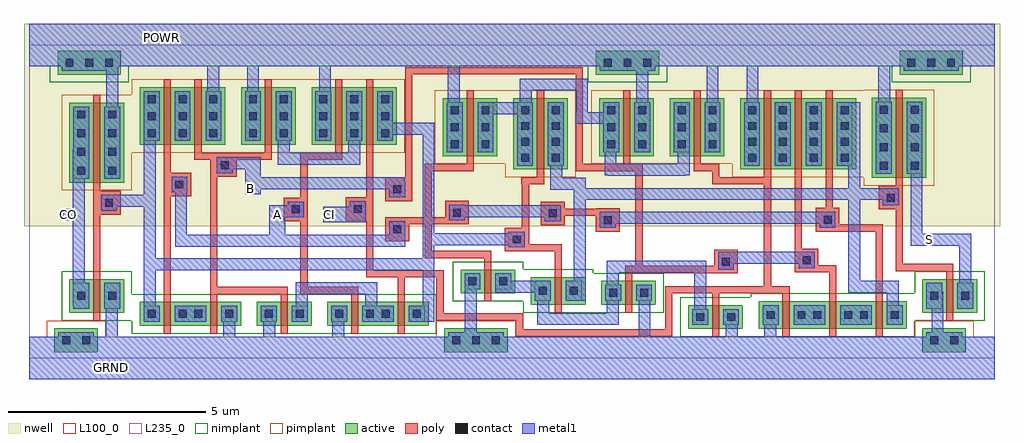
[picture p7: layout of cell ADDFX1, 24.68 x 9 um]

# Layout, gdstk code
import gdstk
lib = gdstk.Library(unit=1e-6, precision=1e-09)
def R(c, l, rs):  # rectangles x0, y0, x1, y1
    for r in rs: c.add(gdstk.rectangle(r[:2], r[2:], *l))
def A(c, l, x, y, w, h, nx, ny, dx, dy):  # array of equal rectangles
    R(c, l, [(x+i*dx, y+j*dy, x+i*dx+w, y+j*dy+h) for i in range(nx) for j in range(ny)])
active = (1, 0)
nwell = (2, 0)
poly = (3, 0)
nimplant = (4, 0)
pimplant = (5, 0)
contact = (6, 0)
metal1 = (7, 0)
L100_0 = (100, 0)
L235_0 = (235, 0)

addfx1 = lib.new_cell('ADDFX1')
A(addfx1, active, 19.05, 0.74, 0.18, 0.7, 3, 1, 1.18, 0)
A(addfx1, active, 4.58, 0.82, 0.18, 0.6, 3, 1, 1.78, 0)
A(addfx1, active, 18.58, 4.77, 0.18, 1.8, 3, 1, 0.78, 0)
A(addfx1, active, 4.18, 5.39, 0.18, 1.46, 3, 1, 1.78, 0)
R(addfx1, active, [(0.64,0.15,1.74,0.75), (10.5,0.15,12.1,0.75), (22.59,0.15,23.69,0.75), (16.67,0.74,17.27,1.34), (17.27,0.74,17.45,1.34), (17.45,0.74,18.05,1.34), (18.45,0.74,19.05,1.44), (19.23,0.74,19.83,1.44), (19.63,0.74,20.23,1.44), (20.41,0.74,21.01,1.44), (20.81,0.74,21.41,1.44), (21.59,0.74,22.19,1.44), (2.8,0.82,3.4,1.42), (3.4,0.82,3.58,1.42), (3.58,0.82,4.18,1.42), (3.98,0.82,4.58,1.42), (4.76,0.82,5.36,1.42), (5.76,0.82,6.36,1.42), (6.54,0.82,7.14,1.42), (7.54,0.82,8.14,1.42), (8.32,0.82,8.92,1.42), (8.72,0.82,9.32,1.42), (9.32,0.82,9.5,1.42), (9.5,0.82,10.1,1.42), (1.02,1.15,1.62,2), (1.62,1.15,1.8,2), (1.8,1.15,2.4,2), (22.59,1.15,23.19,2), (23.19,1.15,23.37,2), (23.37,1.15,23.97,2), (12.69,1.35,13.29,2.05), (13.29,1.35,13.47,2.05), (13.47,1.35,14.07,2.05), (14.47,1.35,15.07,1.95), (15.07,1.35,15.25,1.95), (15.25,1.35,15.85,1.95), (10.91,1.64,11.51,2.24), (11.51,1.64,11.69,2.24), (11.69,1.64,12.29,2.24), (1.02,4.44,1.62,6.46), (1.62,4.44,1.8,6.46), (1.8,4.44,2.4,6.46), (21.31,4.56,21.91,6.58), (21.91,4.56,22.09,6.58), (22.09,4.56,22.69,6.58), (12.24,4.77,12.84,6.57), (12.84,4.77,13.02,6.57), (13.02,4.77,13.62,6.57), (17.98,4.77,18.58,6.57), (18.76,4.77,19.36,6.57), (18.76,4.77,19.36,6.57), (19.54,4.77,20.14,6.57), (19.54,4.77,20.14,6.57), (20.32,4.77,20.92,6.57), (10.46,5.11,11.06,6.57), (11.06,5.11,11.24,6.57), (11.24,5.11,11.84,6.57), (14.42,5.11,15.02,6.57), (15.02,5.11,15.2,6.57), (15.2,5.11,15.8,6.57), (16.2,5.11,16.8,6.57), (16.8,5.11,16.98,6.57), (16.98,5.11,17.58,6.57), (2.8,5.39,3.4,6.85), (3.4,5.39,3.58,6.85), (3.58,5.39,4.18,6.85), (3.58,5.39,4.18,6.85), (4.36,5.39,4.96,6.85), (5.36,5.39,5.96,6.85), (6.14,5.39,6.74,6.85), (7.14,5.39,7.74,6.85), (7.92,5.39,8.52,6.85), (7.92,5.39,8.52,6.85), (8.52,5.39,8.7,6.85), (8.7,5.39,9.3,6.85), (0.72,7.17,2.32,7.77), (14.33,7.17,15.93,7.77), (22.01,7.17,23.61,7.77)])
A(addfx1, nwell, 17.48, 4.27, 2.38, 2.8, 3, 1, 0.78, 0)
A(addfx1, nwell, 3.08, 4.89, 2.38, 2.46, 3, 1, 1.78, 0)
R(addfx1, nwell, [(-0.13,3.33,24.55,8.46), (0.52,3.94,2.9,6.96), (20.81,4.06,23.19,7.08), (11.74,4.27,14.12,7.07), (9.96,4.61,12.34,7.07), (13.92,4.61,16.3,7.07), (15.7,4.61,18.08,7.07), (2.3,4.89,4.68,7.35), (7.42,4.89,9.8,7.35)])
A(addfx1, poly, 19.05, 0.54, 0.18, 0.2, 3, 2, 1.18, 0.9)
A(addfx1, poly, 19.05, 0.54, 0.18, 1.1, 3, 1, 1.18, 0)
A(addfx1, poly, 4.58, 0.62, 0.18, 0.2, 3, 2, 1.78, 0.8)
A(addfx1, poly, 4.58, 0.62, 0.18, 1, 3, 1, 1.78, 0)
A(addfx1, poly, 18.58, 4.57, 0.18, 0.2, 3, 1, 0.78, 0)
A(addfx1, poly, 18.58, 4.57, 0.18, 2.2, 3, 1, 0.78, 0)
A(addfx1, poly, 4.18, 5.19, 0.18, 0.2, 3, 2, 1.78, 1.66)
A(addfx1, poly, 4.18, 5.19, 0.18, 1.86, 3, 1, 1.78, 0)
A(addfx1, poly, 15.02, 6.57, 0.18, 0.2, 3, 1, 1.78, 0)
R(addfx1, poly, [(17.27,0.54,17.45,0.74), (17.27,0.54,17.45,1.54), (3.4,0.62,3.58,0.82), (3.4,0.62,3.58,1.62), (9.32,0.62,9.5,0.82), (9.32,0.62,9.5,1.62), (1.62,0.95,1.8,1.15), (1.62,0.95,1.8,2.2), (23.19,0.95,23.37,1.15), (23.19,0.95,23.37,2.2), (13.29,1.15,13.47,1.35), (13.29,1.15,13.47,2.25), (15.07,1.15,15.25,1.35), (15.07,1.15,15.25,2.15), (17.27,1.34,17.45,1.54), (3.4,1.42,3.58,1.62), (9.32,1.42,9.5,1.62), (11.51,1.44,11.69,1.64), (11.51,1.44,11.69,2.44), (15.07,1.95,15.25,2.15), (1.62,2,1.8,2.2), (23.19,2,23.37,2.2), (13.29,2.05,13.47,2.25), (17.32,2.14,17.92,2.74), (19.36,2.17,19.96,2.77), (11.51,2.24,11.69,2.44), (12.03,2.7,12.63,3.3), (9.01,2.96,9.61,3.56), (14.33,3.19,14.93,3.79), (19.89,3.2,20.49,3.8), (12.94,3.36,13.54,3.96), (10.52,3.38,11.12,3.98), (6.44,3.46,7.04,4.06), (8.01,3.47,8.61,4.07), (1.72,3.63,2.32,4.23), (21.49,3.76,22.09,4.36), (9.01,3.97,9.61,4.57), (3.5,4.09,4.1,4.69), (1.62,4.24,1.8,6.66), (1.62,4.24,1.8,4.44), (21.91,4.36,22.09,6.78), (21.91,4.36,22.09,4.56), (12.84,4.57,13.02,4.77), (12.84,4.57,13.02,6.77), (4.65,4.58,5.25,5.18), (11.06,4.91,11.24,5.11), (11.06,4.91,11.24,6.77), (15.02,4.91,15.2,5.11), (15.02,4.91,15.2,6.77), (16.8,4.91,16.98,5.11), (16.8,4.91,16.98,6.77), (3.4,5.19,3.58,5.39), (3.4,5.19,3.58,7.05), (8.52,5.19,8.7,5.39), (8.52,5.19,8.7,7.05), (1.62,6.46,1.8,6.66), (11.06,6.57,11.24,6.77), (12.84,6.57,13.02,6.77), (19.36,6.57,19.54,6.77), (20.14,6.57,20.32,6.77), (21.91,6.58,22.09,6.78), (3.4,6.85,3.58,7.05), (8.52,6.85,8.7,7.05)])
A(addfx1, nimplant, 18.25, 0.54, 1.78, 1.1, 3, 1, 1.18, 0)
A(addfx1, nimplant, 3.78, 0.62, 1.78, 1, 3, 1, 1.78, 0)
R(addfx1, nimplant, [(16.47,0.54,18.25,1.54), (2.6,0.62,4.38,1.62), (8.52,0.62,10.3,1.62), (0.82,0.95,2.6,2.2), (22.39,0.95,24.17,2.2), (12.49,1.15,14.27,2.25), (14.27,1.15,16.05,2.15), (10.71,1.44,12.49,2.44), (0.52,6.97,2.52,7.97), (14.13,6.97,16.13,7.97), (21.81,6.97,23.81,7.97), (0,7.38,24.42,8.46)])
A(addfx1, pimplant, 17.78, 4.57, 1.78, 2.2, 3, 1, 0.78, 0)
A(addfx1, pimplant, 3.38, 5.19, 1.78, 1.86, 3, 1, 1.78, 0)
R(addfx1, pimplant, [(0,-0.54,24.42,0.54), (0.44,-0.05,1.94,0.95), (10.3,-0.05,12.3,0.95), (22.39,-0.05,23.89,0.95), (0.82,4.24,2.6,6.66), (21.11,4.36,22.89,6.78), (12.04,4.57,13.82,6.77), (10.26,4.91,12.04,6.77), (14.22,4.91,16,6.77), (16,4.91,17.78,6.77), (2.6,5.19,4.38,7.05), (7.72,5.19,9.5,7.05)])
A(addfx1, contact, 10.7, 0.35, 0.2, 0.2, 3, 1, 0.5, 0)
A(addfx1, contact, 1.22, 4.64, 0.2, 0.2, 1, 3, 0, 0.475)
A(addfx1, contact, 2, 4.64, 0.2, 0.2, 1, 3, 0, 0.475)
A(addfx1, contact, 21.51, 4.76, 0.2, 0.2, 1, 3, 0, 0.475)
A(addfx1, contact, 22.29, 4.76, 0.2, 0.2, 1, 3, 0, 0.475)
A(addfx1, contact, 12.44, 4.97, 0.2, 0.2, 1, 4, 0, 0.4)
A(addfx1, contact, 13.22, 4.97, 0.2, 0.2, 1, 4, 0, 0.4)
A(addfx1, contact, 18.18, 4.97, 0.2, 0.2, 1, 4, 0, 0.4)
A(addfx1, contact, 20.52, 4.97, 0.2, 0.2, 1, 4, 0, 0.4)
A(addfx1, contact, 10.66, 5.31, 0.2, 0.2, 1, 3, 0, 0.43)
A(addfx1, contact, 11.44, 5.31, 0.2, 0.2, 1, 3, 0, 0.43)
A(addfx1, contact, 14.62, 5.31, 0.2, 0.2, 1, 3, 0, 0.43)
A(addfx1, contact, 15.4, 5.31, 0.2, 0.2, 1, 3, 0, 0.43)
A(addfx1, contact, 16.4, 5.31, 0.2, 0.2, 1, 3, 0, 0.43)
A(addfx1, contact, 17.18, 5.31, 0.2, 0.2, 1, 3, 0, 0.43)
A(addfx1, contact, 3, 5.59, 0.2, 0.2, 1, 3, 0, 0.43)
A(addfx1, contact, 4.56, 5.59, 0.2, 0.2, 1, 3, 0, 0.43)
A(addfx1, contact, 5.56, 5.59, 0.2, 0.2, 1, 3, 0, 0.43)
A(addfx1, contact, 6.34, 5.59, 0.2, 0.2, 1, 3, 0, 0.43)
A(addfx1, contact, 7.34, 5.59, 0.2, 0.2, 1, 3, 0, 0.43)
A(addfx1, contact, 8.9, 5.59, 0.2, 0.2, 1, 3, 0, 0.43)
A(addfx1, contact, 0.92, 7.37, 0.2, 0.2, 3, 1, 0.5, 0)
A(addfx1, contact, 14.53, 7.37, 0.2, 0.2, 3, 1, 0.5, 0)
A(addfx1, contact, 22.21, 7.37, 0.2, 0.2, 3, 1, 0.5, 0)
R(addfx1, contact, [(0.84,0.35,1.04,0.55), (1.34,0.35,1.54,0.55), (22.79,0.35,22.99,0.55), (23.29,0.35,23.49,0.55), (16.87,0.94,17.07,1.14), (17.65,0.94,17.85,1.14), (18.65,0.99,18.85,1.19), (19.43,0.99,19.63,1.19), (19.83,0.99,20.03,1.19), (20.61,0.99,20.81,1.19), (21.01,0.99,21.21,1.19), (21.79,0.99,21.99,1.19), (3,1.02,3.2,1.22), (3.78,1.02,3.98,1.22), (4.18,1.02,4.38,1.22), (4.96,1.02,5.16,1.22), (5.96,1.02,6.16,1.22), (6.74,1.02,6.94,1.22), (7.74,1.02,7.94,1.22), (8.52,1.02,8.72,1.22), (8.92,1.02,9.12,1.22), (9.7,1.02,9.9,1.22), (1.22,1.475,1.42,1.675), (2,1.475,2.2,1.675), (22.79,1.475,22.99,1.675), (23.57,1.475,23.77,1.675), (14.67,1.55,14.87,1.75), (15.45,1.55,15.65,1.75), (12.89,1.6,13.09,1.8), (13.67,1.6,13.87,1.8), (11.11,1.84,11.31,2.04), (11.89,1.84,12.09,2.04), (17.52,2.34,17.72,2.54), (19.56,2.37,19.76,2.57), (12.23,2.9,12.43,3.1), (9.21,3.16,9.41,3.36), (14.53,3.39,14.73,3.59), (20.09,3.4,20.29,3.6), (13.14,3.56,13.34,3.76), (10.72,3.58,10.92,3.78), (6.64,3.66,6.84,3.86), (8.21,3.67,8.41,3.87), (1.92,3.83,2.12,4.03), (21.69,3.96,21.89,4.16), (9.21,4.17,9.41,4.37), (3.7,4.29,3.9,4.49), (4.85,4.78,5.05,4.98), (18.96,4.97,19.16,5.17), (18.96,4.97,19.16,5.17), (19.74,4.97,19.94,5.17), (19.74,4.97,19.94,5.17), (18.96,5.37,19.16,5.57), (18.96,5.37,19.16,5.57), (19.74,5.37,19.94,5.57), (19.74,5.37,19.94,5.57), (3.78,5.59,3.98,5.79), (3.78,5.59,3.98,5.79), (8.12,5.59,8.32,5.79), (8.12,5.59,8.32,5.79), (18.96,5.77,19.16,5.97), (18.96,5.77,19.16,5.97), (19.74,5.77,19.94,5.97), (19.74,5.77,19.94,5.97), (3.78,6.02,3.98,6.22), (3.78,6.02,3.98,6.22), (8.12,6.02,8.32,6.22), (8.12,6.02,8.32,6.22), (1.22,6.06,1.42,6.26), (2,6.06,2.2,6.26), (18.96,6.17,19.16,6.37), (18.96,6.17,19.16,6.37), (19.74,6.17,19.94,6.37), (19.74,6.17,19.94,6.37), (21.51,6.18,21.71,6.38), (22.29,6.18,22.49,6.38), (3.78,6.45,3.98,6.65), (3.78,6.45,3.98,6.65), (8.12,6.45,8.32,6.65), (8.12,6.45,8.32,6.65)])
R(addfx1, metal1, [(0,-0.54,24.42,0.54), (0.74,0.25,1.64,0.65), (10.6,0.25,12,0.65), (22.69,0.25,23.59,0.65), (3.68,0.92,4.28,1.32), (3.68,0.92,4.48,1.32), (17.42,2.24,17.82,2.64), (19.46,2.27,19.86,2.67), (12.13,2.8,12.53,3.2), (22.62,2.84,22.92,3.14), (9.11,3.06,9.51,3.46), (14.43,3.29,14.83,3.69), (19.99,3.3,20.39,3.7), (13.04,3.46,13.44,3.86), (0.85,3.48,1.15,3.78), (6.12,3.48,6.42,3.78), (7.44,3.48,7.74,3.78), (10.62,3.48,11.02,3.88), (6.54,3.56,6.94,3.96), (8.11,3.57,8.51,3.97), (1.82,3.73,2.22,4.13), (21.59,3.86,21.99,4.26), (9.11,4.07,9.51,4.47), (5.46,4.14,5.76,4.44), (3.6,4.19,4,4.59), (4.75,4.68,5.15,5.08), (0.82,7.27,2.22,7.67), (14.43,7.27,15.83,7.67), (22.11,7.27,23.51,7.67), (0,7.38,24.42,8.46)])
R(addfx1, L100_0, [(16.77,0.84,17.17,1.24), (17.55,0.84,17.95,1.24), (18.55,0.84,18.95,1.34), (19.33,0.84,19.73,1.34), (19.73,0.84,20.13,1.34), (20.51,0.84,20.91,1.34), (20.91,0.84,21.31,1.34), (21.69,0.84,22.09,1.34), (2.9,0.92,3.3,1.32), (3.68,0.92,4.08,1.32), (4.08,0.92,4.48,1.32), (4.86,0.92,5.26,1.32), (5.86,0.92,6.26,1.32), (6.64,0.92,7.04,1.32), (7.64,0.92,8.04,1.32), (8.42,0.92,8.82,1.32), (8.82,0.92,9.22,1.32), (9.6,0.92,10,1.32), (1.12,1.25,1.52,1.9), (1.9,1.25,2.3,1.9), (22.69,1.25,23.09,1.9), (23.47,1.25,23.87,1.9), (12.79,1.45,13.19,1.95), (13.57,1.45,13.97,1.95), (14.57,1.45,14.97,1.85), (15.35,1.45,15.75,1.85), (11.01,1.74,11.41,2.14), (11.79,1.74,12.19,2.14), (1.12,4.54,1.52,6.36), (1.9,4.54,2.3,6.36), (21.41,4.66,21.81,6.48), (22.19,4.66,22.59,6.48), (12.34,4.87,12.74,6.47), (13.12,4.87,13.52,6.47), (18.08,4.87,18.48,6.47), (18.86,4.87,19.26,6.47), (18.86,4.87,19.26,6.47), (19.64,4.87,20.04,6.47), (19.64,4.87,20.04,6.47), (20.42,4.87,20.82,6.47), (10.56,5.21,10.96,6.47), (11.34,5.21,11.74,6.47), (14.52,5.21,14.92,6.47), (15.3,5.21,15.7,6.47), (16.3,5.21,16.7,6.47), (17.08,5.21,17.48,6.47), (2.9,5.49,3.3,6.75), (3.68,5.49,4.08,6.75), (3.68,5.49,4.08,6.75), (4.46,5.49,4.86,6.75), (5.46,5.49,5.86,6.75), (6.24,5.49,6.64,6.75), (7.24,5.49,7.64,6.75), (8.02,5.49,8.42,6.75), (8.02,5.49,8.42,6.75), (8.8,5.49,9.2,6.75)])
R(addfx1, L235_0, [(0,0,24.42,7.92)])
addfx1.add(gdstk.FlexPath([(11.6,2.32),(11.6,2.71)], 0.18, ends="flush", simple_path=True, layer=3, datatype=0))  # poly
addfx1.add(gdstk.FlexPath([(23.37,2.29),(21.92,2.29)], 0.18, ends="flush", simple_path=True, layer=3, datatype=0))  # poly
addfx1.add(gdstk.FlexPath([(22,4.47),(22,2.2)], 0.18, ends="flush", simple_path=True, layer=3, datatype=0))  # poly
addfx1.add(gdstk.FlexPath([(20.23,4.69),(20.23,3.6)], 0.18, ends="flush", simple_path=True, layer=3, datatype=0))  # poly
addfx1.add(gdstk.FlexPath([(21.48,3.29),(20.03,3.29)], 0.18, ends="flush", simple_path=True, layer=3, datatype=0))  # poly
addfx1.add(gdstk.FlexPath([(21.5,1.55),(21.5,3.38)], 0.18, ends="flush", simple_path=True, layer=3, datatype=0))  # poly
addfx1.add(gdstk.FlexPath([(20.32,1.52),(20.32,2.26),(19.36,2.26)], 0.18, ends="flush", simple_path=True, layer=3, datatype=0))  # poly
addfx1.add(gdstk.FlexPath([(17.36,1.41),(17.36,1.76)], 0.18, ends="flush", simple_path=True, layer=3, datatype=0))  # poly
addfx1.add(gdstk.FlexPath([(19.45,4.69),(19.45,2.17)], 0.18, ends="flush", simple_path=True, layer=3, datatype=0))  # poly
addfx1.add(gdstk.FlexPath([(18.67,4.48),(17.36,4.48)], 0.18, ends="flush", simple_path=True, layer=3, datatype=0))  # poly
addfx1.add(gdstk.FlexPath([(16.17,1.73),(19.23,1.73)], 0.18, ends="flush", simple_path=True, layer=3, datatype=0))  # poly
addfx1.add(gdstk.FlexPath([(18.67,4.71),(18.67,1.64)], 0.18, ends="flush", simple_path=True, layer=3, datatype=0))  # poly
addfx1.add(gdstk.FlexPath([(17.36,4.39),(17.36,4.9)], 0.18, ends="flush", simple_path=True, layer=3, datatype=0))  # poly
addfx1.add(gdstk.FlexPath([(17.45,4.82),(16.8,4.82)], 0.18, ends="flush", simple_path=True, layer=3, datatype=0))  # poly
addfx1.add(gdstk.FlexPath([(16.17,1.82),(16.17,0.55)], 0.18, ends="flush", simple_path=True, layer=3, datatype=0))  # poly
addfx1.add(gdstk.FlexPath([(15.07,2.24),(17.81,2.24)], 0.18, ends="flush", simple_path=True, layer=3, datatype=0))  # poly
addfx1.add(gdstk.FlexPath([(15.42,2.16),(15.42,4.91)], 0.18, ends="flush", simple_path=True, layer=3, datatype=0))  # poly
addfx1.add(gdstk.FlexPath([(6.86,5.1),(7.92,5.1)], 0.18, ends="flush", simple_path=True, layer=3, datatype=0))  # poly
addfx1.add(gdstk.FlexPath([(6.95,1.67),(6.95,5.18)], 0.18, ends="flush", simple_path=True, layer=3, datatype=0))  # poly
addfx1.add(gdstk.FlexPath([(13.13,3.69),(14.54,3.69)], 0.18, ends="flush", simple_path=True, layer=3, datatype=0))  # poly
addfx1.add(gdstk.FlexPath([(13.02,4.48),(12.45,4.48)], 0.18, ends="flush", simple_path=True, layer=3, datatype=0))  # poly
addfx1.add(gdstk.FlexPath([(4.18,5.1),(6.14,5.1)], 0.18, ends="flush", simple_path=True, layer=3, datatype=0))  # poly
addfx1.add(gdstk.FlexPath([(1.71,4.75),(1.71,1.73)], 0.18, ends="flush", simple_path=True, layer=3, datatype=0))  # poly
addfx1.add(gdstk.FlexPath([(3.49,5.3),(3.49,1.49)], 0.18, ends="flush", simple_path=True, layer=3, datatype=0))  # poly
addfx1.add(gdstk.FlexPath([(13.82,4.82),(15.51,4.82)], 0.18, ends="flush", simple_path=True, layer=3, datatype=0))  # poly
addfx1.add(gdstk.FlexPath([(4.58,1.71),(6.54,1.71)], 0.18, ends="flush", simple_path=True, layer=3, datatype=0))  # poly
addfx1.add(gdstk.FlexPath([(4.67,5.19),(4.67,1.62)], 0.18, ends="flush", simple_path=True, layer=3, datatype=0))  # poly
addfx1.add(gdstk.FlexPath([(13.38,2.12),(13.38,2.88)], 0.18, ends="flush", simple_path=True, layer=3, datatype=0))  # poly
addfx1.add(gdstk.FlexPath([(6.86,1.71),(8.32,1.71)], 0.18, ends="flush", simple_path=True, layer=3, datatype=0))  # poly
addfx1.add(gdstk.FlexPath([(12.55,2.79),(13.47,2.79)], 0.18, ends="flush", simple_path=True, layer=3, datatype=0))  # poly
addfx1.add(gdstk.FlexPath([(9.41,1.54),(9.41,2.22)], 0.18, ends="flush", simple_path=True, layer=3, datatype=0))  # poly
addfx1.add(gdstk.FlexPath([(10,4.82),(11.24,4.82)], 0.18, ends="flush", simple_path=True, layer=3, datatype=0))  # poly
addfx1.add(gdstk.FlexPath([(10.39,1.05),(12.48,1.05)], 0.18, ends="flush", simple_path=True, layer=3, datatype=0))  # poly
addfx1.add(gdstk.FlexPath([(12.55,4.57),(12.55,2.7)], 0.18, ends="flush", simple_path=True, layer=3, datatype=0))  # poly
addfx1.add(gdstk.FlexPath([(10.39,2.21),(10.39,0.96)], 0.18, ends="flush", simple_path=True, layer=3, datatype=0))  # poly
addfx1.add(gdstk.FlexPath([(9.51,7.27),(14,7.27)], 0.18, ends="flush", simple_path=True, layer=3, datatype=0))  # poly
addfx1.add(gdstk.FlexPath([(9.6,7.28),(9.6,3.97)], 0.18, ends="flush", simple_path=True, layer=3, datatype=0))  # poly
addfx1.add(gdstk.FlexPath([(9.22,3.47),(10.93,3.47)], 0.18, ends="flush", simple_path=True, layer=3, datatype=0))  # poly
addfx1.add(gdstk.FlexPath([(8.61,2.04),(8.61,5.3)], 0.18, ends="flush", simple_path=True, layer=3, datatype=0))  # poly
addfx1.add(gdstk.FlexPath([(10.1,2.62),(11.61,2.62)], 0.18, ends="flush", simple_path=True, layer=3, datatype=0))  # poly
addfx1.add(gdstk.FlexPath([(16.17,0.64),(12.31,0.64)], 0.18, ends="flush", simple_path=True, layer=3, datatype=0))  # poly
addfx1.add(gdstk.FlexPath([(8.53,2.13),(10.48,2.13)], 0.18, ends="flush", simple_path=True, layer=3, datatype=0))  # poly
addfx1.add(gdstk.FlexPath([(12.4,1.14),(12.4,0.55)], 0.18, ends="flush", simple_path=True, layer=3, datatype=0))  # poly
addfx1.add(gdstk.FlexPath([(10.09,4.91),(10.09,2.53)], 0.18, ends="flush", simple_path=True, layer=3, datatype=0))  # poly
addfx1.add(gdstk.FlexPath([(13.91,4.82),(13.91,7.36)], 0.18, ends="flush", simple_path=True, layer=3, datatype=0))  # poly
addfx1.add(gdstk.FlexPath([(21.61,4.66),(21.61,6.48)], 0.4, ends="flush", simple_path=True, layer=7, datatype=0))  # metal1
addfx1.add(gdstk.FlexPath([(22.39,4.66),(22.39,6.48)], 0.4, ends="flush", simple_path=True, layer=7, datatype=0))  # metal1
addfx1.add(gdstk.FlexPath([(1.32,4.54),(1.32,6.36)], 0.4, ends="flush", simple_path=True, layer=7, datatype=0))  # metal1
addfx1.add(gdstk.FlexPath([(2.1,4.54),(2.1,6.36)], 0.4, ends="flush", simple_path=True, layer=7, datatype=0))  # metal1
addfx1.add(gdstk.FlexPath([(8.22,5.49),(8.22,6.75)], 0.4, ends="flush", simple_path=True, layer=7, datatype=0))  # metal1
addfx1.add(gdstk.FlexPath([(9,5.49),(9,6.75)], 0.4, ends="flush", simple_path=True, layer=7, datatype=0))  # metal1
addfx1.add(gdstk.FlexPath([(7.44,5.49),(7.44,6.75)], 0.4, ends="flush", simple_path=True, layer=7, datatype=0))  # metal1
addfx1.add(gdstk.FlexPath([(8.22,5.49),(8.22,6.75)], 0.4, ends="flush", simple_path=True, layer=7, datatype=0))  # metal1
addfx1.add(gdstk.FlexPath([(3.1,5.49),(3.1,6.75)], 0.4, ends="flush", simple_path=True, layer=7, datatype=0))  # metal1
addfx1.add(gdstk.FlexPath([(3.88,5.49),(3.88,6.75)], 0.4, ends="flush", simple_path=True, layer=7, datatype=0))  # metal1
addfx1.add(gdstk.FlexPath([(10.76,5.21),(10.76,6.47)], 0.4, ends="flush", simple_path=True, layer=7, datatype=0))  # metal1
addfx1.add(gdstk.FlexPath([(11.54,5.21),(11.54,6.47)], 0.4, ends="flush", simple_path=True, layer=7, datatype=0))  # metal1
addfx1.add(gdstk.FlexPath([(3.88,5.49),(3.88,6.75)], 0.4, ends="flush", simple_path=True, layer=7, datatype=0))  # metal1
addfx1.add(gdstk.FlexPath([(4.66,5.49),(4.66,6.75)], 0.4, ends="flush", simple_path=True, layer=7, datatype=0))  # metal1
addfx1.add(gdstk.FlexPath([(5.66,5.49),(5.66,6.75)], 0.4, ends="flush", simple_path=True, layer=7, datatype=0))  # metal1
addfx1.add(gdstk.FlexPath([(6.44,5.49),(6.44,6.75)], 0.4, ends="flush", simple_path=True, layer=7, datatype=0))  # metal1
addfx1.add(gdstk.FlexPath([(14.72,5.21),(14.72,6.47)], 0.4, ends="flush", simple_path=True, layer=7, datatype=0))  # metal1
addfx1.add(gdstk.FlexPath([(15.5,5.21),(15.5,6.47)], 0.4, ends="flush", simple_path=True, layer=7, datatype=0))  # metal1
addfx1.add(gdstk.FlexPath([(16.5,5.21),(16.5,6.47)], 0.4, ends="flush", simple_path=True, layer=7, datatype=0))  # metal1
addfx1.add(gdstk.FlexPath([(17.28,5.21),(17.28,6.47)], 0.4, ends="flush", simple_path=True, layer=7, datatype=0))  # metal1
addfx1.add(gdstk.FlexPath([(12.54,4.87),(12.54,6.47)], 0.4, ends="flush", simple_path=True, layer=7, datatype=0))  # metal1
addfx1.add(gdstk.FlexPath([(13.32,4.87),(13.32,6.47)], 0.4, ends="flush", simple_path=True, layer=7, datatype=0))  # metal1
addfx1.add(gdstk.FlexPath([(18.28,4.87),(18.28,6.47)], 0.4, ends="flush", simple_path=True, layer=7, datatype=0))  # metal1
addfx1.add(gdstk.FlexPath([(19.06,4.87),(19.06,6.47)], 0.4, ends="flush", simple_path=True, layer=7, datatype=0))  # metal1
addfx1.add(gdstk.FlexPath([(19.06,4.87),(19.06,6.47)], 0.4, ends="flush", simple_path=True, layer=7, datatype=0))  # metal1
addfx1.add(gdstk.FlexPath([(19.84,4.87),(19.84,6.47)], 0.4, ends="flush", simple_path=True, layer=7, datatype=0))  # metal1
addfx1.add(gdstk.FlexPath([(19.84,4.87),(19.84,6.47)], 0.4, ends="flush", simple_path=True, layer=7, datatype=0))  # metal1
addfx1.add(gdstk.FlexPath([(20.62,4.87),(20.62,6.47)], 0.4, ends="flush", simple_path=True, layer=7, datatype=0))  # metal1
addfx1.add(gdstk.FlexPath([(22.89,1.25),(22.89,1.9)], 0.4, ends="flush", simple_path=True, layer=7, datatype=0))  # metal1
addfx1.add(gdstk.FlexPath([(23.67,1.25),(23.67,1.9)], 0.4, ends="flush", simple_path=True, layer=7, datatype=0))  # metal1
addfx1.add(gdstk.FlexPath([(1.32,1.25),(1.32,1.9)], 0.4, ends="flush", simple_path=True, layer=7, datatype=0))  # metal1
addfx1.add(gdstk.FlexPath([(2.1,1.25),(2.1,1.9)], 0.4, ends="flush", simple_path=True, layer=7, datatype=0))  # metal1
addfx1.add(gdstk.FlexPath([(3.1,0.92),(3.1,1.32)], 0.4, ends="flush", simple_path=True, layer=7, datatype=0))  # metal1
addfx1.add(gdstk.FlexPath([(3.88,0.92),(3.88,1.32)], 0.4, ends="flush", simple_path=True, layer=7, datatype=0))  # metal1
addfx1.add(gdstk.FlexPath([(9.02,0.92),(9.02,1.32)], 0.4, ends="flush", simple_path=True, layer=7, datatype=0))  # metal1
addfx1.add(gdstk.FlexPath([(9.8,0.92),(9.8,1.32)], 0.4, ends="flush", simple_path=True, layer=7, datatype=0))  # metal1
addfx1.add(gdstk.FlexPath([(7.84,0.92),(7.84,1.32)], 0.4, ends="flush", simple_path=True, layer=7, datatype=0))  # metal1
addfx1.add(gdstk.FlexPath([(8.62,0.92),(8.62,1.32)], 0.4, ends="flush", simple_path=True, layer=7, datatype=0))  # metal1
addfx1.add(gdstk.FlexPath([(11.21,1.74),(11.21,2.14)], 0.4, ends="flush", simple_path=True, layer=7, datatype=0))  # metal1
addfx1.add(gdstk.FlexPath([(11.99,1.74),(11.99,2.14)], 0.4, ends="flush", simple_path=True, layer=7, datatype=0))  # metal1
addfx1.add(gdstk.FlexPath([(6.06,0.92),(6.06,1.32)], 0.4, ends="flush", simple_path=True, layer=7, datatype=0))  # metal1
addfx1.add(gdstk.FlexPath([(6.84,0.92),(6.84,1.32)], 0.4, ends="flush", simple_path=True, layer=7, datatype=0))  # metal1
addfx1.add(gdstk.FlexPath([(4.28,0.92),(4.28,1.32)], 0.4, ends="flush", simple_path=True, layer=7, datatype=0))  # metal1
addfx1.add(gdstk.FlexPath([(5.06,0.92),(5.06,1.32)], 0.4, ends="flush", simple_path=True, layer=7, datatype=0))  # metal1
addfx1.add(gdstk.FlexPath([(14.77,1.45),(14.77,1.85)], 0.4, ends="flush", simple_path=True, layer=7, datatype=0))  # metal1
addfx1.add(gdstk.FlexPath([(15.55,1.45),(15.55,1.85)], 0.4, ends="flush", simple_path=True, layer=7, datatype=0))  # metal1
addfx1.add(gdstk.FlexPath([(16.97,0.84),(16.97,1.24)], 0.4, ends="flush", simple_path=True, layer=7, datatype=0))  # metal1
addfx1.add(gdstk.FlexPath([(17.75,0.84),(17.75,1.24)], 0.4, ends="flush", simple_path=True, layer=7, datatype=0))  # metal1
addfx1.add(gdstk.FlexPath([(12.99,1.45),(12.99,1.95)], 0.4, ends="flush", simple_path=True, layer=7, datatype=0))  # metal1
addfx1.add(gdstk.FlexPath([(13.77,1.45),(13.77,1.95)], 0.4, ends="flush", simple_path=True, layer=7, datatype=0))  # metal1
addfx1.add(gdstk.FlexPath([(18.75,0.84),(18.75,1.34)], 0.4, ends="flush", simple_path=True, layer=7, datatype=0))  # metal1
addfx1.add(gdstk.FlexPath([(19.53,0.84),(19.53,1.34)], 0.4, ends="flush", simple_path=True, layer=7, datatype=0))  # metal1
addfx1.add(gdstk.FlexPath([(13.98,6.06),(13.98,6.92)], 0.3, ends="flush", simple_path=True, layer=7, datatype=0))  # metal1
addfx1.add(gdstk.FlexPath([(14.71,6.07),(13.82,6.07)], 0.3, ends="flush", simple_path=True, layer=7, datatype=0))  # metal1
addfx1.add(gdstk.FlexPath([(22.44,4.66),(22.44,2.99),(23.67,2.99),(23.67,1.88)], 0.3, ends="flush", simple_path=True, layer=7, datatype=0))  # metal1
addfx1.add(gdstk.FlexPath([(22.97,1.68),(22.97,0.11)], 0.3, ends="flush", simple_path=True, layer=7, datatype=0))  # metal1
addfx1.add(gdstk.FlexPath([(21.62,6.12),(21.62,7.88)], 0.3, ends="flush", simple_path=True, layer=7, datatype=0))  # metal1
addfx1.add(gdstk.FlexPath([(20.86,1.8),(21.85,1.8)], 0.3, ends="flush", simple_path=True, layer=7, datatype=0))  # metal1
addfx1.add(gdstk.FlexPath([(20.86,6.47),(20.86,1.65)], 0.3, ends="flush", simple_path=True, layer=7, datatype=0))  # metal1
addfx1.add(gdstk.FlexPath([(21.84,1.08),(21.84,1.95)], 0.3, ends="flush", simple_path=True, layer=7, datatype=0))  # metal1
addfx1.add(gdstk.FlexPath([(18.29,6.08),(18.29,7.88)], 0.3, ends="flush", simple_path=True, layer=7, datatype=0))  # metal1
addfx1.add(gdstk.FlexPath([(14.44,3.55),(20.39,3.55)], 0.3, ends="flush", simple_path=True, layer=7, datatype=0))  # metal1
addfx1.add(gdstk.FlexPath([(17.42,2.54),(19.86,2.54)], 0.3, ends="flush", simple_path=True, layer=7, datatype=0))  # metal1
addfx1.add(gdstk.FlexPath([(17.77,1.23),(17.77,-0.46)], 0.3, ends="flush", simple_path=True, layer=7, datatype=0))  # metal1
addfx1.add(gdstk.FlexPath([(16.97,0.94),(16.97,2.46)], 0.3, ends="flush", simple_path=True, layer=7, datatype=0))  # metal1
addfx1.add(gdstk.FlexPath([(14.64,2.31),(17.02,2.31)], 0.3, ends="flush", simple_path=True, layer=7, datatype=0))  # metal1
addfx1.add(gdstk.FlexPath([(15.56,1.75),(15.56,0.31)], 0.3, ends="flush", simple_path=True, layer=7, datatype=0))  # metal1
addfx1.add(gdstk.FlexPath([(14.76,2.46),(14.76,0.85)], 0.3, ends="flush", simple_path=True, layer=7, datatype=0))  # metal1
addfx1.add(gdstk.FlexPath([(16.55,4.62),(16.55,5.57)], 0.3, ends="flush", simple_path=True, layer=7, datatype=0))  # metal1
addfx1.add(gdstk.FlexPath([(18.74,1.17),(18.74,0.1)], 0.3, ends="flush", simple_path=True, layer=7, datatype=0))  # metal1
addfx1.add(gdstk.FlexPath([(14.7,4.62),(14.7,5.62)], 0.3, ends="flush", simple_path=True, layer=7, datatype=0))  # metal1
addfx1.add(gdstk.FlexPath([(13,1.73),(13,0.99)], 0.3, ends="flush", simple_path=True, layer=7, datatype=0))  # metal1
addfx1.add(gdstk.FlexPath([(17.28,6.12),(17.28,7.93)], 0.3, ends="flush", simple_path=True, layer=7, datatype=0))  # metal1
addfx1.add(gdstk.FlexPath([(12.56,6.16),(12.56,7.07)], 0.3, ends="flush", simple_path=True, layer=7, datatype=0))  # metal1
addfx1.add(gdstk.FlexPath([(2.09,1.68),(2.09,0.23)], 0.3, ends="flush", simple_path=True, layer=7, datatype=0))  # metal1
addfx1.add(gdstk.FlexPath([(11.38,6.32),(12.59,6.32)], 0.3, ends="flush", simple_path=True, layer=7, datatype=0))  # metal1
addfx1.add(gdstk.FlexPath([(1.25,5.28),(1.25,1.32)], 0.3, ends="flush", simple_path=True, layer=7, datatype=0))  # metal1
addfx1.add(gdstk.FlexPath([(3.05,2.37),(10.11,2.37)], 0.3, ends="flush", simple_path=True, layer=7, datatype=0))  # metal1
addfx1.add(gdstk.FlexPath([(13.77,4.15),(21.99,4.15)], 0.3, ends="flush", simple_path=True, layer=7, datatype=0))  # metal1
addfx1.add(gdstk.FlexPath([(5.06,1.1),(5.06,0.22)], 0.3, ends="flush", simple_path=True, layer=7, datatype=0))  # metal1
addfx1.add(gdstk.FlexPath([(2.1,6.29),(2.1,7.92)], 0.3, ends="flush", simple_path=True, layer=7, datatype=0))  # metal1
addfx1.add(gdstk.FlexPath([(3.84,4.25),(3.84,2.97),(9.51,2.97)], 0.3, ends="flush", simple_path=True, layer=7, datatype=0))  # metal1
addfx1.add(gdstk.FlexPath([(3.05,5.8),(3.05,1.01)], 0.3, ends="flush", simple_path=True, layer=7, datatype=0))  # metal1
addfx1.add(gdstk.FlexPath([(8.65,1.92),(8.65,1.02)], 0.3, ends="flush", simple_path=True, layer=7, datatype=0))  # metal1
addfx1.add(gdstk.FlexPath([(12.32,3.01),(10.1,3.01)], 0.3, ends="flush", simple_path=True, layer=7, datatype=0))  # metal1
addfx1.add(gdstk.FlexPath([(4.75,4.93),(5.76,4.93)], 0.3, ends="flush", simple_path=True, layer=7, datatype=0))  # metal1
addfx1.add(gdstk.FlexPath([(13.92,1.45),(13.92,4.56)], 0.3, ends="flush", simple_path=True, layer=7, datatype=0))  # metal1
addfx1.add(gdstk.FlexPath([(11.79,1.8),(13.07,1.8)], 0.3, ends="flush", simple_path=True, layer=7, datatype=0))  # metal1
addfx1.add(gdstk.FlexPath([(6.94,3.71),(6.07,3.71)], 0.3, ends="flush", simple_path=True, layer=7, datatype=0))  # metal1
addfx1.add(gdstk.FlexPath([(21.11,0.84),(21.11,1.34)], 0.4, ends="flush", simple_path=True, layer=7, datatype=0))  # metal1
addfx1.add(gdstk.FlexPath([(21.89,0.84),(21.89,1.34)], 0.4, ends="flush", simple_path=True, layer=7, datatype=0))  # metal1
addfx1.add(gdstk.FlexPath([(13.33,5.31),(13.33,4.39)], 0.3, ends="flush", simple_path=True, layer=7, datatype=0))  # metal1
addfx1.add(gdstk.FlexPath([(6.27,3.77),(6.27,3.12)], 0.4, ends="flush", simple_path=True, layer=7, datatype=0))  # metal1
addfx1.add(gdstk.FlexPath([(7.82,1.14),(7.82,0.07)], 0.3, ends="flush", simple_path=True, layer=7, datatype=0))  # metal1
addfx1.add(gdstk.FlexPath([(12.85,0.99),(14.91,0.99)], 0.3, ends="flush", simple_path=True, layer=7, datatype=0))  # metal1
addfx1.add(gdstk.FlexPath([(13.18,4.41),(13.92,4.41)], 0.3, ends="flush", simple_path=True, layer=7, datatype=0))  # metal1
addfx1.add(gdstk.FlexPath([(5.65,4.42),(9.5,4.42)], 0.3, ends="flush", simple_path=True, layer=7, datatype=0))  # metal1
addfx1.add(gdstk.FlexPath([(14.63,4.76),(16.6,4.76)], 0.3, ends="flush", simple_path=True, layer=7, datatype=0))  # metal1
addfx1.add(gdstk.FlexPath([(10.1,0.92),(10.1,5.8),(9,5.8)], 0.3, ends="flush", simple_path=True, layer=7, datatype=0))  # metal1
addfx1.add(gdstk.FlexPath([(8.37,5.04),(6.35,5.04)], 0.3, ends="flush", simple_path=True, layer=7, datatype=0))  # metal1
addfx1.add(gdstk.FlexPath([(8.22,5.78),(8.22,4.9)], 0.3, ends="flush", simple_path=True, layer=7, datatype=0))  # metal1
addfx1.add(gdstk.FlexPath([(10.73,3.71),(13.34,3.71)], 0.3, ends="flush", simple_path=True, layer=7, datatype=0))  # metal1
addfx1.add(gdstk.FlexPath([(6.89,1.92),(6.89,1.02)], 0.3, ends="flush", simple_path=True, layer=7, datatype=0))  # metal1
addfx1.add(gdstk.FlexPath([(5.66,6.49),(5.66,7.93)], 0.3, ends="flush", simple_path=True, layer=7, datatype=0))  # metal1
addfx1.add(gdstk.FlexPath([(10.74,6.02),(10.74,7.73)], 0.3, ends="flush", simple_path=True, layer=7, datatype=0))  # metal1
addfx1.add(gdstk.FlexPath([(8.51,3.63),(7.44,3.63)], 0.4, ends="flush", simple_path=True, layer=7, datatype=0))  # metal1
addfx1.add(gdstk.FlexPath([(6.44,5.82),(6.44,4.89)], 0.3, ends="flush", simple_path=True, layer=7, datatype=0))  # metal1
addfx1.add(gdstk.FlexPath([(6.82,1.77),(8.8,1.77)], 0.3, ends="flush", simple_path=True, layer=7, datatype=0))  # metal1
addfx1.add(gdstk.FlexPath([(6.07,1.12),(6.07,0.21)], 0.3, ends="flush", simple_path=True, layer=7, datatype=0))  # metal1
addfx1.add(gdstk.FlexPath([(20.71,0.84),(20.71,1.34)], 0.4, ends="flush", simple_path=True, layer=7, datatype=0))  # metal1
addfx1.add(gdstk.FlexPath([(7.48,6.44),(7.48,7.89)], 0.3, ends="flush", simple_path=True, layer=7, datatype=0))  # metal1
addfx1.add(gdstk.FlexPath([(15.5,6.18),(15.5,7.79)], 0.3, ends="flush", simple_path=True, layer=7, datatype=0))  # metal1
addfx1.add(gdstk.FlexPath([(11.17,1.97),(11.17,0.01)], 0.3, ends="flush", simple_path=True, layer=7, datatype=0))  # metal1
addfx1.add(gdstk.FlexPath([(19.93,0.84),(19.93,1.34)], 0.4, ends="flush", simple_path=True, layer=7, datatype=0))  # metal1
addfx1.add(gdstk.FlexPath([(4.66,6.43),(4.66,7.69)], 0.3, ends="flush", simple_path=True, layer=7, datatype=0))  # metal1
addfx1.add(gdstk.FlexPath([(1.91,3.98),(2.99,3.98)], 0.3, ends="flush", simple_path=True, layer=7, datatype=0))  # metal1
addfx1.add(gdstk.FlexPath([(12.41,6.92),(14.13,6.92)], 0.3, ends="flush", simple_path=True, layer=7, datatype=0))  # metal1
addfx1.add(gdstk.FlexPath([(5.66,4.14),(5.66,5.08)], 0.4, ends="flush", simple_path=True, layer=7, datatype=0))  # metal1
addfx1.add(gdstk.Label('S', (22.77,2.99), layer=230, texttype=0))
addfx1.add(gdstk.Label('CO', (0.99,3.63), layer=230, texttype=0))
addfx1.add(gdstk.Label('CI', (7.59,3.63), layer=230, texttype=0))
addfx1.add(gdstk.Label('A', (6.27,3.63), layer=230, texttype=0))
addfx1.add(gdstk.Label('POWR', (3.35,8.11), layer=230, texttype=0))
addfx1.add(gdstk.Label('B', (5.61,4.29), layer=230, texttype=0))
addfx1.add(gdstk.Label('GRND', (2.09,-0.25), layer=230, texttype=0))

lib.write_gds('ADDFX1.gds')
